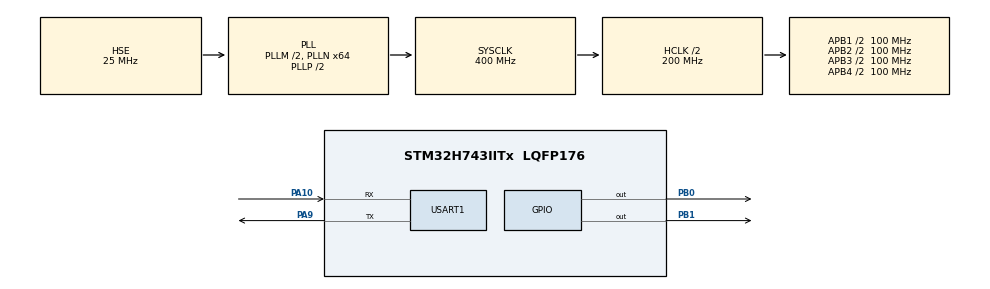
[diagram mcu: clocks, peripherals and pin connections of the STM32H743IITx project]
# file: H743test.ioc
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CORTEX_M7.AccessPermission_S-Cortex_Memory_Protection_Unit_Region1_Settings_S=MPU_REGION_FULL_ACCESS
CORTEX_M7.BaseAddress_S-Cortex_Memory_Protection_Unit_Region1_Settings_S=0x24000000
CORTEX_M7.CPU_DCache=Disabled
CORTEX_M7.CPU_ICache=Disabled
CORTEX_M7.Enable_S-Cortex_Memory_Protection_Unit_Region1_Settings_S=MPU_REGION_ENABLE
CORTEX_M7.IsCacheable_S-Cortex_Memory_Protection_Unit_Region1_Settings_S=MPU_ACCESS_CACHEABLE
CORTEX_M7.IsShareable_S-Cortex_Memory_Protection_Unit_Region1_Settings_S=MPU_ACCESS_SHAREABLE
CORTEX_M7.MPU_Control=__NULL
CORTEX_M7.Size_S-Cortex_Memory_Protection_Unit_Region1_Settings_S=MPU_REGION_SIZE_512KB
CORTEX_M7.default_mode_Activation=1
Dma.Request0=USART1_RX
Dma.Request1=USART1_TX
Dma.USART1_RX.0.Direction=DMA_PERIPH_TO_MEMORY
Dma.USART1_RX.0.EventEnable=DISABLE
Dma.USART1_RX.0.FIFOMode=DMA_FIFOMODE_DISABLE
Dma.USART1_RX.0.Instance=DMA1_Stream0
Dma.USART1_RX.0.MemDataAlignment=DMA_MDATAALIGN_BYTE
Dma.USART1_RX.0.MemInc=DMA_MINC_ENABLE
Dma.USART1_RX.0.Mode=DMA_NORMAL
Dma.USART1_RX.0.PeriphDataAlignment=DMA_PDATAALIGN_BYTE
Dma.USART1_RX.0.PeriphInc=DMA_PINC_DISABLE
Dma.USART1_RX.0.Polarity=HAL_DMAMUX_REQ_GEN_RISING
Dma.USART1_RX.0.Priority=DMA_PRIORITY_LOW
Dma.USART1_RX.0.RequestNumber=1
Dma.USART1_RX.0.SignalID=NONE
Dma.USART1_RX.0.SyncEnable=DISABLE
Dma.USART1_RX.0.SyncPolarity=HAL_DMAMUX_SYNC_NO_EVENT
Dma.USART1_RX.0.SyncRequestNumber=1
Dma.USART1_RX.0.SyncSignalID=NONE
Dma.USART1_TX.1.Direction=DMA_MEMORY_TO_PERIPH
Dma.USART1_TX.1.EventEnable=DISABLE
Dma.USART1_TX.1.FIFOMode=DMA_FIFOMODE_DISABLE
Dma.USART1_TX.1.Instance=DMA1_Stream1
Dma.USART1_TX.1.MemDataAlignment=DMA_MDATAALIGN_BYTE
Dma.USART1_TX.1.MemInc=DMA_MINC_ENABLE
Dma.USART1_TX.1.Mode=DMA_NORMAL
Dma.USART1_TX.1.PeriphDataAlignment=DMA_PDATAALIGN_BYTE
Dma.USART1_TX.1.PeriphInc=DMA_PINC_DISABLE
Dma.USART1_TX.1.Polarity=HAL_DMAMUX_REQ_GEN_RISING
Dma.USART1_TX.1.Priority=DMA_PRIORITY_LOW
Dma.USART1_TX.1.RequestNumber=1
Dma.USART1_TX.1.SignalID=NONE
Dma.USART1_TX.1.SyncEnable=DISABLE
Dma.USART1_TX.1.SyncPolarity=HAL_DMAMUX_SYNC_NO_EVENT
Dma.USART1_TX.1.SyncRequestNumber=1
Dma.USART1_TX.1.SyncSignalID=NONE
Mcu.Family=STM32H7
Mcu.Name=STM32H743IITx
Mcu.Package=LQFP176
NVIC.DMA1_Stream0_IRQn=true\:0\:0\:false\:false\:true\:false\:true\:true
NVIC.DMA1_Stream1_IRQn=true\:0\:0\:false\:false\:true\:false\:true\:true
NVIC.PriorityGroup=NVIC_PRIORITYGROUP_4
NVIC.TIM1_UP_IRQn=true\:0\:0\:false\:false\:true\:true\:true\:true
NVIC.USART1_IRQn=true\:0\:0\:false\:false\:true\:false\:true\:true
PA10.Mode=Asynchronous
PA10.Signal=USART1_RX
PA13\ (JTMS/SWDIO).Mode=Serial_Wire
PA13\ (JTMS/SWDIO).Signal=DEBUG_JTMS-SWDIO
PA14\ (JTCK/SWCLK).Mode=Serial_Wire
PA14\ (JTCK/SWCLK).Signal=DEBUG_JTCK-SWCLK
PA9.Mode=Asynchronous
PA9.Signal=USART1_TX
PB0.Signal=GPIO_Output
PB1.Signal=GPIO_Output
PC14-OSC32_IN\ (OSC32_IN).Mode=LSE-External-Oscillator
PC14-OSC32_IN\ (OSC32_IN).Signal=RCC_OSC32_IN
PC15-OSC32_OUT\ (OSC32_OUT).Mode=LSE-External-Oscillator
PC15-OSC32_OUT\ (OSC32_OUT).Signal=RCC_OSC32_OUT
PH0-OSC_IN\ (PH0).Mode=HSE-External-Oscillator
PH0-OSC_IN\ (PH0).Signal=RCC_OSC_IN
PH1-OSC_OUT\ (PH1).Mode=HSE-External-Oscillator
PH1-OSC_OUT\ (PH1).Signal=RCC_OSC_OUT
ProjectManager.HeapSize=0x200
ProjectManager.StackSize=0x400
ProjectManager.TargetToolchain=MDK-ARM V5.32
RCC.ADCFreq_Value=50390625
RCC.APB1Freq_Value=100000000
RCC.APB2Freq_Value=100000000
RCC.APB3Freq_Value=100000000
RCC.APB4Freq_Value=100000000
RCC.CortexFreq_Value=400000000
RCC.D1PPRE=RCC_APB3_DIV2
RCC.D2PPRE1=RCC_APB1_DIV2
RCC.D2PPRE2=RCC_APB2_DIV2
RCC.D3PPRE=RCC_APB4_DIV2
RCC.DIVM1=2
RCC.DIVN1=64
RCC.HCLKFreq_Value=200000000
RCC.HPRE=RCC_HCLK_DIV2
RCC.PLL2FRACN=0
RCC.PLL3FRACN=0
RCC.PLLFRACN=0
RCC.PLLSourceVirtual=RCC_PLLSOURCE_HSE
RCC.PWR_Regulator_Voltage_Scale=PWR_REGULATOR_VOLTAGE_SCALE1
RCC.RCC_TIM_PRescaler_Selection=RCC_TIMPRES_ACTIVATED
RCC.SYSCLKFreq_VALUE=400000000
RCC.SYSCLKSource=RCC_SYSCLKSOURCE_PLLCLK
RCC.SupplySource=PWR_LDO_SUPPLY
RCC.USBFreq_Value=400000000
TIM1.AutoReloadPreload=TIM_AUTORELOAD_PRELOAD_ENABLE
TIM1.Period=50000
TIM1.Prescaler=2400-1
USART1.VirtualMode-Asynchronous=VM_ASYNC
VP_MEMORYMAP_VS_MEMORYMAP.Mode=CurAppReg
VP_TIM1_VS_ClockSourceINT.Mode=Internal
board=custom

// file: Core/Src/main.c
/* USER CODE BEGIN Header */
/**
  ******************************************************************************
  * @file           : main.c
  * @brief          : Main program body
  ******************************************************************************
  * @attention
  *
  * Copyright (c) 2026 STMicroelectronics.
  * All rights reserved.
  *
  * This software is licensed under terms that can be found in the LICENSE file
  * in the root directory of this software component.
  * If no LICENSE file comes with this software, it is provided AS-IS.
  *
  ******************************************************************************
  */
/* USER CODE END Header */
#include <stdio.h>
#include "main.h"
#include "dma.h"
#include "tim.h"
#include "usart.h"
#include "gpio.h"

#include "ch32_inference.h"          /* TFLite Micro wrapper (C shim) */
#include "modbus_ids.h"
#include "modbus_rtu.h"
#include "sliding_window.h"

#ifdef CH32_BACKEND_TFLM
/* 'T' 命令用的上机自检入口. 只在 TFLM 工程 (ch32_inference_tflm.c) 里存在,
 * 所以声明也放在同一个 #ifdef 里, Route E 固件完全不受影响. */
extern int ch32_tflm_selftest(void);
#endif

/* USER CODE BEGIN PD */

/* 2026-09-19 第七轮重构: H743 永远是纯 sniff 模式, 不再需要
 * IDS_SNIFF_ONLY 切换. PC 模拟整条 Modbus 总线 (主站+从站),
 * H743 只解析 PC 重放的 raw17 帧, 不主动轮询, 不发指令. */

/* USER CODE END PD */

/* USER CODE BEGIN PV */
/* Modbus RX DMA buffer — D-Cache 行对齐 (32B) + AXI SRAM
 * (避免与 ch32_inference 的 section 冲突,放在不同 .bss 段)
 *
 * 注意: 不能加 static, 因为 stm32h7xx_it.c 通过 extern 引用它做
 *       SCB_InvalidateDCache_by_Addr() + modbus_ids_on_frame(). */
__attribute__((aligned(32), section(".dma_buffer")))
uint8_t modbus_rx_buf[256];

/* 2026-09-19: 删除 Modbus 主站轮询状态变量 (H743 永远 sniff) */

/* 2026-10-17 sw_buf dump 验证: ASCII 'D' 单字节命令接收 (修复 1B IT bug)
 *   - 2026-10-14 错误设计: HAL_UART_Receive_IT(1B) 与 256B DMA-RX (IDLE) 看似并行,
 *     实际 HAL_UART_Receive_IT 检查 RxState==READY, 而 DMA-RX 已置 BUSY_RX,
 *     导致 1B IT 静默返回 HAL_BUSY (return value 未检查), 永远不使能.
 *   - 2026-10-17 修复: 'D' 检测移到 stm32h7xx_it.c 的 HAL_UARTEx_RxEventCallback
 *     (DMA-RX IDLE 回调), 检测 1 字节 'D' → 置 cmd_rx_ready.
 *   - main.c while(1) 看到 cmd_rx_ready, DMA-TX g_last_ch32_input (1472B) 给 PC.
 *   注: cmd_rx_shadow 保留 (usart.c HAL_UART_RxCpltCallback 仍引用), 但实际不工作. */
__attribute__((aligned(32), section(".axi_sram")))
uint8_t cmd_rx_shadow[1];
volatile uint8_t cmd_rx_byte  = 0;
volatile uint8_t cmd_rx_ready = 0;

/* ⭐ 2026-10-17 Watchdog: USART1 RX 健康监控 (v4 简化)
 *   v1-v3: 周期性 5 秒无 IDLE 增长 = stalled 强制 abort+restart
 *   v4 简化: TFLM 推理移到 main loop 后 ISR 几 us 完成, USART 不会因 ISR 阻塞死锁.
 *           去掉周期性 stalled 检测 (避免误判打断 TFLM 推理).
 *   保留: ISR 内 restart 失败时置 g_rerx_need_recovery flag,
 *         main loop 检测 flag 后非阻塞 abort+restart (兜底极端情况). */
extern volatile uint32_t g_idle_count;
extern volatile uint32_t g_rerx_fail_count;
extern volatile uint8_t  g_rerx_need_recovery;

/* USER CODE END PV */

void SystemClock_Config(void);
void PeriphCommonClock_Config(void);
/* USER CODE BEGIN PFP */
 uint8_t	TextTest[]	=	"hello H743";
 //__attribute__((section(".ram_d2")))
volatile	uint8_t Uart1RxBuf[1024];// __attribute__((section(".ARM.__at_0x24000000")));
 volatile	uint16_t	Uart1RxLen;
 volatile	uint8_t	Uart1Revd	=0;
 volatile	uint8_t	Uart1TxCplt =	0;
 uint16_t	Uart1TxLen;
/* USER CODE END PFP */

/* USER CODE BEGIN 0 */
	void MPU_Config(void)
{
  MPU_Region_InitTypeDef MPU_InitStruct;

  /* Disable the MPU */
  HAL_MPU_Disable();

  /* Configure the MPU as Strongly ordered for not defined regions */
  MPU_InitStruct.Enable = MPU_REGION_ENABLE;
  MPU_InitStruct.BaseAddress = 0x00;
  MPU_InitStruct.Size = MPU_REGION_SIZE_4GB;
  MPU_InitStruct.AccessPermission = MPU_REGION_NO_ACCESS;
  MPU_InitStruct.IsBufferable = MPU_ACCESS_NOT_BUFFERABLE;
  MPU_InitStruct.IsCacheable = MPU_ACCESS_NOT_CACHEABLE;
  MPU_InitStruct.IsShareable = MPU_ACCESS_SHAREABLE;
  MPU_InitStruct.Number = MPU_REGION_NUMBER0;
  MPU_InitStruct.TypeExtField = MPU_TEX_LEVEL0;
  MPU_InitStruct.SubRegionDisable = 0x87;
  MPU_InitStruct.DisableExec = MPU_INSTRUCTION_ACCESS_DISABLE;

  HAL_MPU_ConfigRegion(&MPU_InitStruct);

  /* Enable the MPU */
  HAL_MPU_Enable(MPU_PRIVILEGED_DEFAULT);
}

/* USER CODE END 0 */

int main(void)
{

  /* USER CODE BEGIN 1 */
//	uint16_t	i;
	//MPU_Config();
	HAL_MPU_Disable();

  /* USER CODE END 1 */
//		  SCB_DisableDCache();  // ��ʱ�ر�
//  SCB_DisableICache();
  /* MCU Configuration--------------------------------------------------------*/

  /* Reset of all peripherals, Initializes the Flash interface and the Systick. */
  HAL_Init();

  /* Configure the system clock */
  SystemClock_Config();

  /* Configure the peripherals common clocks */
  PeriphCommonClock_Config();

  /* ⭐ 2026-10-15 修复: cache 启用必须放到 SystemClock_Config 之后
   * 原因: H743 HAL_Init 之后立即 SystemClock_Config 会从 FLASH_LATENCY_DEFAULT
   *       切到 FLASH_LATENCY_2 (重置 flash wait state). PLL 还没起来前开 DCache,
   *       D-Cache line fill 会撞 spurious bus stall,触发 HardFault 或使 NVIC
   *       全部不响应 (包括 TIM1 update). */
  SCB_InvalidateICache();
  SCB_EnableICache();
  SCB_InvalidateDCache();
  SCB_EnableDCache();

  /* Initialize all configured peripherals */
  MX_GPIO_Init();
  MX_DMA_Init();
  MX_USART1_UART_Init();
  MX_TIM1_Init();
  /* USER CODE BEGIN 2 */
	HAL_TIM_Base_Start_IT(&htim1);
	__HAL_UART_CLEAR_IDLEFLAG(&huart1);
//	__HAL_UART_ENABLE_IT(&huart1,UART_IT_IDLE);
#ifdef LED
	HAL_GPIO_WritePin(GPIOB,GPIO_PIN_1,GPIO_PIN_RESET);
	HAL_GPIO_WritePin(GPIOB,GPIO_PIN_0,GPIO_PIN_RESET);
	#endif
	HAL_UART_Transmit(&huart1,TextTest,10,1000);
	Uart1Revd	=	0;
	//HAL_UART_Receive_DMA(&huart1,(uint8_t *)Uart1RxBuf,UART_BUFFER_SIZE); //
	 if (HAL_UARTEx_ReceiveToIdle_DMA(&huart1, modbus_rx_buf, sizeof(modbus_rx_buf)) != HAL_OK) {
    Error_Handler();
  }
	/* 2026-10-17: 删除 1B IT 启动 (HAL_UART_Receive_IT 静默返回 HAL_BUSY 因 RxState=BUSY_RX)
	 *   'D' 命令改在 stm32h7xx_it.c HAL_UARTEx_RxEventCallback IDLE 回调里检测. */
#ifdef CH32_BACKEND_TFLM
	printf("\r\n=== TFLite Micro Initial (FP32 weights, TFLM reference kernels) ===\r\n");
#else
	printf("\r\n=== Route E Initial (Hand-rolled C kernel, no TFLM) ===\r\n");
#endif
	/* DBG BYPASS 2: 早期 bypass, 即使 ch32_init fail 也能验证 GPIO */
	for (volatile int k = 0; k < 4000000; k++);  /* 让 user 看到 startup print */
	/* ⭐ 2026-10-18 路线 E 迁移: ch32_init() 返回 void (不再是 uint8_t)
	 *   TFLM AllocateTensors 可能 arena OOM, 旧版返回 0 失败; 手写 C 路径
	 *   无此风险, 启动失败直接 HardFault 即可. */
	ch32_init();  /* 启动期一次性 INT8 -> FP32 dequant (~3 ms @ 480 MHz) */
	ch32_mem_info_t mi = ch32_get_mem_info();
#ifdef CH32_BACKEND_TFLM
	printf("\r\n=== TCN+SE ch=32 23-dim H743 Deployment (TFLM) ===\r\n");
#else
	printf("\r\n=== TCN+SE ch=32 23-dim H743 Deployment (Route E) ===\r\n");
#endif
	printf("Weights (FP32): %u B (%u KB)\r\n",
	       (unsigned)mi.weights_fp32_bytes,
	       (unsigned)(mi.weights_fp32_bytes / 1024));
	printf("Peak act:       %u B (%u KB)\r\n",
	       (unsigned)mi.peak_act_bytes,
	       (unsigned)(mi.peak_act_bytes / 1024));
	printf("Input:          %u B (%u KB)\r\n",
	       (unsigned)mi.input_bytes,
	       (unsigned)(mi.input_bytes / 1024));
	printf("Total RAM:      %u B (%u KB)\r\n",
	       (unsigned)mi.total_ram_bytes,
	       (unsigned)(mi.total_ram_bytes / 1024));
	printf("Threshold:      %.2f  (T scaling = %.2f)\r\n",
	       CH32_BEST_THRESHOLD, CH32_TEMPERATURE);

	 printf("H743 IDS ready\r\n");

				 /* ���ܻ�׼:100 ������ */
//  uint32_t avg_cycles = ch32_benchmark(100);
//  float avg_us = (float)avg_cycles / 480.0f;  /* 480 MHz */
//  printf("--- Benchmark (100 runs) ---\r\n");
//  printf("Avg cycles: %u\r\n", (unsigned)avg_cycles);
//  printf("Avg time:   %.3f us @ 480 MHz\r\n", avg_us);
//  printf("Throughput: %.0f inferences/sec\r\n", 1e6f / avg_us);
//HAL_UARTEx_ReceiveToIdle_DMA(&huart1,Uart1RxBuf,UART_BUFFER_SIZE);
	/* ---- Modbus IDS ��ʼ�� ---- */
  modbus_ids_init();
	printf("Modbus IDS armed on USART1 (PA10 RX) @ 115200 8N1\r\n");
  printf("Alarm LED: PB0 (ON = attack, prob >= %.2f)\r\n", CH32_BEST_THRESHOLD);
  printf("Mode: PURE BUS SNIFFER, 17-dim raw payload from PC replay\r\n");
  printf("  CRC check + 23-dim TCN+SE inference\r\n");
  /* USER CODE END 2 */

  while (1)
  {

    /* USER CODE BEGIN 3 */
		/* ⭐ 2026-10-17 FIX: 移除 DBG BYPASS continue 短路, 让 'D' dump 命令处理真正运行
		 * (原 2026-10-15 bypass 让 ch32_init 之后所有 main loop 逻辑不可达, 链接器 GC
		 *  会把 ch32_init + 47KB model data 当 unreferenced 删掉, 烧录的固件只剩 LED toggle) */
//		{
//			static int phase = 0;
//			phase++;
//			if (phase & 1) {
//				HAL_GPIO_WritePin(GPIOB, GPIO_PIN_0, GPIO_PIN_SET);
//			} else {
//				HAL_GPIO_WritePin(GPIOB, GPIO_PIN_0, GPIO_PIN_RESET);
//			}
//		}
//		if(Uart1Revd	==	1)
//		{
//			HAL_GPIO_TogglePin(GPIOB,GPIO_PIN_1);
//		}

		/* 2026-10-17: 处理 PC 'D' 命令, DMA-TX g_last_ch32_input (1472B)
		 *   'D' 检测由 stm32h7xx_it.c HAL_UARTEx_RxEventCallback 完成 (IDLE 回调里).
		 *   这里只消费 cmd_rx_ready 标志. */
		if (cmd_rx_ready) {
			cmd_rx_ready = 0;
			if (cmd_rx_byte == 'D') {
				/* 2026-10-17 FIX: printf 必须先于 HAL_UART_Transmit_DMA, 否则 fputc 阻塞写
				 * TDR 1 byte @ 87us 会跟 DMA 1 byte @ 87us 在 UART 硬件层交错, 污染 dump.
				 * 改成 printf 完 → 启动 DMA → DMA 全程独占 UART TX (直到 TC). */
				printf("\r\n[D-CMD] rx 'D' main loop, dump 1472B starting\r\n");
				/* g_last_ch32_input 在 .axi_sram (write-back), DMA 读前必须 clean DCache */
				SCB_CleanDCache_by_Addr((uint32_t *)g_last_ch32_input,
				                        (int32_t)sizeof(g_last_ch32_input));
				/* 非阻塞 DMA-TX, 启动后 UART TX 寄存器由 DMA1 Stream1 独占写入 */
				HAL_StatusTypeDef drc = HAL_UART_Transmit_DMA(&huart1,
				                      (uint8_t *)g_last_ch32_input,
				                      (uint16_t)sizeof(g_last_ch32_input));
				if (drc != HAL_OK) {
					printf("[D-CMD] HAL_UART_Transmit_DMA failed rc=%d (DMA busy?)\r\n", (int)drc);
				}
				/* ⭐ 2026-10-17 fix: 不能再 printf "[D-CMD] DMA-TX 1472B started", 会跟 DMA 字符交错.
				 * 但 PC 端 XCOM 默认文本模式看不到 binary (1472B 中 0x00/0x0A/0x0D 被截断),
				 * 加 "DUMP-END" 标记让 XCOM 知道 binary 在哪一段.
				 * 风险: 跟 DMA 字符交错 → 实际 1472B @ 115200 = 128ms, printf 在 128ms 后才调,
				 *      DMA 早已完成. 安全. */
				uint32_t tc_tick = HAL_GetTick();
				while (huart1.gState != HAL_UART_STATE_READY) {
					if (HAL_GetTick() - tc_tick > 500u) break;  /* 500ms 超时保护 */
				}
				printf("\r\n[D-CMD] DMA-TX 1472B done\r\n");
			}
			/* 不需要 re-arm 1B IT: 'D' 由 IDLE 回调里下一个 1-byte 'D' 触发 */
#ifdef CH32_BACKEND_TFLM
			/* ⭐ 2026-10-26 TFLM 工程: 'T' = controlled-input 自检.
			 *   5 个 controlled input (ZEROS/ONES/HALF/NEG1/TWOS) 跑 MCU 解释器,
			 *   输出跟 PC 侧 experiments/tflm_fp32/artifacts/tflm_selftest_ref.json
			 *   对拍. 判读 (见 tflm_runtime.cpp 里的注释):
			 *     - 5 个恒定      -> 图/运行时在 MCU 上坏了
			 *     - 5 个互不相同但与 PC 不一致 -> 算子数值实现差异
			 *     - 5 个与 PC 一致 -> 运行时 OK, 问题在数据通路
			 *   只有 TFLM 工程编译这个分支, Route E 固件逐字节不变. */
			if (cmd_rx_byte == 'T') {
				printf("\r\n[T-CMD] running TFLM controlled-input self-test\r\n");
				int trc = ch32_tflm_selftest();
				printf("[T-CMD] self-test rc=%d\r\n", trc);
			}
#endif
		}

		/* ⭐ 2026-10-17: 消费 ISR 置的 inference pending flag.
		 *   ISR 凑齐 16 帧时 memcpy 23*16=368 floats 到 snapshot, 置 flag.
		 *   TFLM 推理 (~2ms) 在 main loop 调, 避免 ISR 内阻塞导致 USART 死锁. */
		modbus_ids_run_inference_if_pending();

		/* ⭐ 2026-10-17 USART1 RX Watchdog (v4 简化)
		 *   v1-v3: 周期性 5 秒无 IDLE 增长 = stalled 强制 abort+restart
		 *   v4 简化: TFLM 推理移到 main loop 后 ISR 几 us 完成, USART 不会因 ISR 阻塞死锁.
		 *           去掉周期性 stalled 检测 (避免误判打断 TFLM 推理).
		 *   保留: ISR 内 restart 失败时置 g_rerx_need_recovery flag,
		 *         main loop 检测 flag 后非阻塞 abort+restart (兜底极端情况). */
		if (g_rerx_need_recovery) {
			g_rerx_need_recovery = 0;
			printf("[WD] ISR reported re-arm fail, force abort+restart\r\n");
			HAL_StatusTypeDef rc_abort = HAL_UART_AbortReceive(&huart1);
			if (rc_abort != HAL_OK) {
				printf("[WD] abort FAILED rc=%d, skip restart\r\n", (int)rc_abort);
			} else {
				HAL_StatusTypeDef rc_wd = HAL_UARTEx_ReceiveToIdle_DMA(&huart1,
				                       modbus_rx_buf, sizeof(modbus_rx_buf));
				__HAL_DMA_DISABLE_IT(&hdma_usart1_rx, DMA_IT_HT);
				if (rc_wd != HAL_OK) {
					printf("[WD] recovery restart FAILED rc=%d\r\n", (int)rc_wd);
				} else {
					printf("[WD] recovery restart OK\r\n");
				}
			}
		}

  }
  /* USER CODE END 3 */
}

void SystemClock_Config(void)
{
  RCC_OscInitTypeDef RCC_OscInitStruct = {0};
  RCC_ClkInitTypeDef RCC_ClkInitStruct = {0};

  /** Supply configuration update enable
  */
  HAL_PWREx_ConfigSupply(PWR_LDO_SUPPLY);

  /** Configure the main internal regulator output voltage
  */
  __HAL_PWR_VOLTAGESCALING_CONFIG(PWR_REGULATOR_VOLTAGE_SCALE1);

  while(!__HAL_PWR_GET_FLAG(PWR_FLAG_VOSRDY)) {}

  /** Initializes the RCC Oscillators according to the specified parameters
  * in the RCC_OscInitTypeDef structure.
  */
  RCC_OscInitStruct.OscillatorType = RCC_OSCILLATORTYPE_HSE;
  RCC_OscInitStruct.HSEState = RCC_HSE_ON;
  RCC_OscInitStruct.PLL.PLLState = RCC_PLL_ON;
  RCC_OscInitStruct.PLL.PLLSource = RCC_PLLSOURCE_HSE;
  RCC_OscInitStruct.PLL.PLLM = 2;
  RCC_OscInitStruct.PLL.PLLN = 64;
  RCC_OscInitStruct.PLL.PLLP = 2;
  RCC_OscInitStruct.PLL.PLLQ = 2;
  RCC_OscInitStruct.PLL.PLLR = 2;
  RCC_OscInitStruct.PLL.PLLRGE = RCC_PLL1VCIRANGE_3;
  RCC_OscInitStruct.PLL.PLLVCOSEL = RCC_PLL1VCOWIDE;
  RCC_OscInitStruct.PLL.PLLFRACN = 0;
  if (HAL_RCC_OscConfig(&RCC_OscInitStruct) != HAL_OK)
  {
    Error_Handler();
  }

  /** Initializes the CPU, AHB and APB buses clocks
  */
  RCC_ClkInitStruct.ClockType = RCC_CLOCKTYPE_HCLK|RCC_CLOCKTYPE_SYSCLK
                              |RCC_CLOCKTYPE_PCLK1|RCC_CLOCKTYPE_PCLK2
                              |RCC_CLOCKTYPE_D3PCLK1|RCC_CLOCKTYPE_D1PCLK1;
  RCC_ClkInitStruct.SYSCLKSource = RCC_SYSCLKSOURCE_PLLCLK;
  RCC_ClkInitStruct.SYSCLKDivider = RCC_SYSCLK_DIV1;
  RCC_ClkInitStruct.AHBCLKDivider = RCC_HCLK_DIV2;
  RCC_ClkInitStruct.APB3CLKDivider = RCC_APB3_DIV2;
  RCC_ClkInitStruct.APB1CLKDivider = RCC_APB1_DIV2;
  RCC_ClkInitStruct.APB2CLKDivider = RCC_APB2_DIV2;
  RCC_ClkInitStruct.APB4CLKDivider = RCC_APB4_DIV2;

  if (HAL_RCC_ClockConfig(&RCC_ClkInitStruct, FLASH_LATENCY_2) != HAL_OK)
  {
    Error_Handler();
  }
}

void PeriphCommonClock_Config(void)
{
  RCC_PeriphCLKInitTypeDef PeriphClkInitStruct = {0};

  /** Initializes the peripherals clock
  */
  PeriphClkInitStruct.PeriphClockSelection = RCC_PERIPHCLK_TIM;
  PeriphClkInitStruct.TIMPresSelection = RCC_TIMPRES_ACTIVATED;

  if (HAL_RCCEx_PeriphCLKConfig(&PeriphClkInitStruct) != HAL_OK)
  {
    Error_Handler();
  }
}

void Error_Handler(void)
{
  __disable_irq();
  while (1)
  {
  }
}
